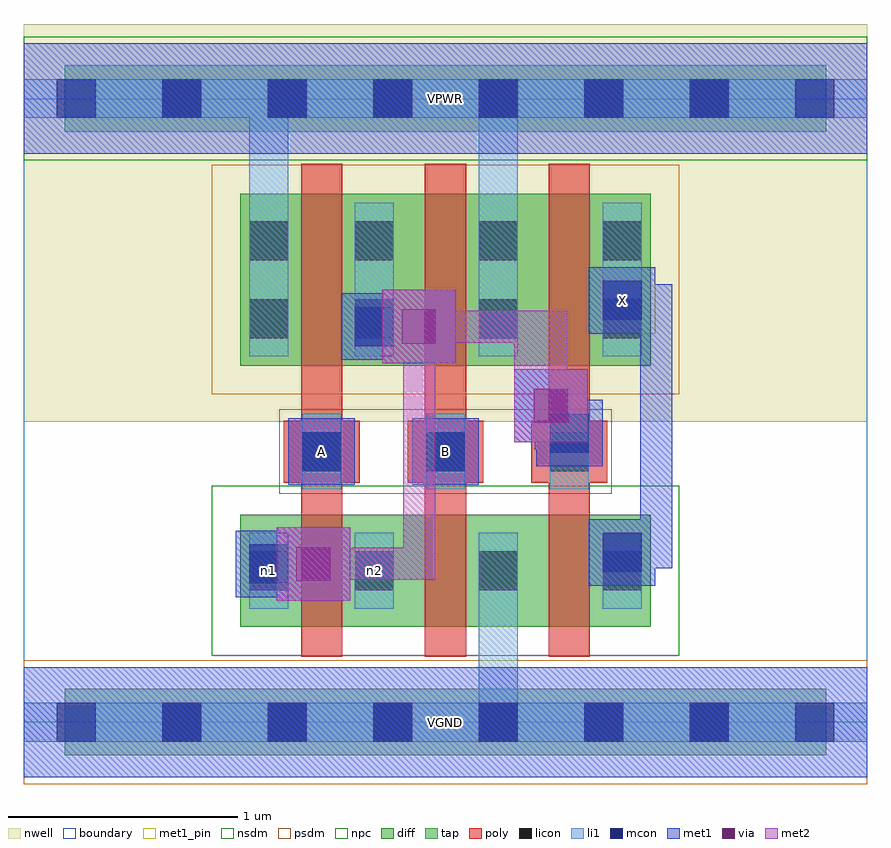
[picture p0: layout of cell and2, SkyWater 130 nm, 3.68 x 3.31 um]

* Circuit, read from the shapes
.subckt and2 A B VGND VPWR X n1 n2
XM1 n2 A n1 VGND sky130_fd_pr__nfet_01v8 w=0.49 l=0.18
XM2 VGND B n2 VGND sky130_fd_pr__nfet_01v8 w=0.49 l=0.18
XM3 X n1 VGND VGND sky130_fd_pr__nfet_01v8 w=0.49 l=0.18
XM4 n1 A VPWR VPWR sky130_fd_pr__pfet_01v8 w=0.75 l=0.18
XM5 VPWR B n1 VPWR sky130_fd_pr__pfet_01v8 w=0.75 l=0.18
XM6 X n1 VPWR VPWR sky130_fd_pr__pfet_01v8 w=0.75 l=0.18
.ends

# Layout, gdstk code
import gdstk
lib = gdstk.Library(unit=1e-6, precision=1e-09)
def R(c, l, rs):  # rectangles x0, y0, x1, y1
    for r in rs: c.add(gdstk.rectangle(r[:2], r[2:], *l))
def A(c, l, x, y, w, h, nx, ny, dx, dy):  # array of equal rectangles
    R(c, l, [(x+i*dx, y+j*dy, x+i*dx+w, y+j*dy+h) for i in range(nx) for j in range(ny)])
nwell = (64, 20)
diff = (65, 20)
tap = (65, 44)
poly = (66, 20)
licon = (66, 44)
li1 = (67, 20)
mcon = (67, 44)
met1_pin = (68, 16)
met1 = (68, 20)
via = (68, 44)
met2 = (69, 20)
nsdm = (93, 44)
psdm = (94, 20)
npc = (95, 20)
boundary = (235, 4)

and2 = lib.new_cell('and2')
R(and2, nwell, [(0,1.31,3.68,3.045)])
R(and2, diff, [(0.945,0.415,2.735,0.905), (0.945,1.555,2.735,2.305)])
R(and2, tap, [(0.18,-0.145,3.5,0.145), (0.18,2.575,3.5,2.865)])
A(and2, poly, 1.21, 0.285, 0.18, 2.15, 3, 1, 0.54, 0)
A(and2, poly, 1.135, 1.045, 0.33, 0.27, 3, 1, 0.54, 0)
A(and2, licon, 0.605, -0.085, 0.17, 0.17, 6, 2, 0.46, 2.72)
A(and2, licon, 1.445, 0.575, 0.17, 0.17, 3, 2, 0.54, 1.1)
A(and2, licon, 1.215, 1.095, 0.17, 0.17, 3, 1, 0.54, 0)
A(and2, licon, 1.445, 2.015, 0.17, 0.17, 3, 1, 0.54, 0)
R(and2, licon, [(0.985,0.575,1.155,0.745), (0.985,1.675,1.155,1.845), (0.985,2.015,1.155,2.185)])
A(and2, li1, 1.445, 0.495, 0.17, 0.33, 3, 1, 0.54, 0)
A(and2, li1, 1.215, 1.015, 0.17, 0.33, 3, 1, 0.54, 0)
A(and2, li1, 1.445, 1.595, 0.17, 0.67, 3, 1, 0.54, 0)
R(and2, li1, [(0,-0.085,3.68,0.085), (1.985,-0.085,2.155,0.825), (0.985,0.495,1.155,0.825), (0.985,1.595,1.155,2.265), (0.985,1.595,1.155,2.805), (1.985,1.595,2.155,2.805), (0,2.635,3.68,2.805)])
A(and2, mcon, 0.145, -0.085, 0.17, 0.17, 8, 2, 0.46, 2.72)
R(and2, mcon, [(0.985,0.605,1.155,0.775), (2.525,0.655,2.695,0.825), (1.215,1.095,1.385,1.265), (1.755,1.095,1.925,1.265), (2.295,1.175,2.465,1.345), (1.445,1.64,1.615,1.81), (2.525,1.755,2.695,1.925)])
R(and2, met1_pin, [(0,-0.24,3.68,0.24), (1.155,1.035,1.445,1.325), (1.695,1.035,1.985,1.325), (2.465,1.695,2.755,1.985), (0,2.48,3.68,2.96)])
R(and2, met1, [(0,-0.24,3.68,0.24), (1.105,0.53,1.425,0.85), (0.925,0.545,1.215,0.835), (2.465,0.595,2.755,0.885), (1,0.62,1.335,0.76), (2.54,0.67,2.83,0.81), (2.69,0.67,2.83,0.99), (2.69,0.85,2.83,1.91), (1.155,1.035,1.445,1.325), (1.695,1.035,1.985,1.325), (2.235,1.115,2.525,1.405), (2.23,1.19,2.45,1.33), (2.23,1.19,2.37,1.45), (2.14,1.22,2.46,1.54), (1.565,1.565,1.885,1.885), (1.385,1.58,1.675,1.87), (1.46,1.655,1.795,1.795), (2.465,1.695,2.755,1.985), (2.54,1.77,2.83,1.91), (0,2.48,3.68,2.96)])
R(and2, via, [(1.19,0.615,1.34,0.765), (2.225,1.305,2.375,1.455), (1.65,1.65,1.8,1.8)])
R(and2, met2, [(1.105,0.53,1.425,0.85), (1.195,0.62,1.795,0.76), (1.655,0.62,1.795,1.795), (2.14,1.22,2.46,1.54), (2.23,1.31,2.37,1.795), (2.14,1.54,2.37,1.655), (1.565,1.565,1.885,1.885), (1.655,1.655,2.37,1.795)])
R(and2, nsdm, [(0.82,0.29,2.86,1.03), (0,2.45,3.68,2.99)])
R(and2, psdm, [(0,-0.27,3.68,0.27), (0.82,1.43,2.86,2.43)])
R(and2, npc, [(1.115,0.995,2.565,1.365)])
R(and2, boundary, [(0,0,3.68,2.72)])
and2.add(gdstk.Label('n1', (1.07,0.66), layer=67, texttype=5))
and2.add(gdstk.Label('n2', (1.53,0.66), layer=67, texttype=5))
and2.add(gdstk.Label('A', (1.3,1.18), layer=68, texttype=5))
and2.add(gdstk.Label('B', (1.84,1.18), layer=68, texttype=5))
and2.add(gdstk.Label('X', (2.61,1.84), layer=68, texttype=5))
and2.add(gdstk.Label('VPWR', (1.84,2.72), layer=68, texttype=5))
and2.add(gdstk.Label('VGND', (1.84,0), layer=68, texttype=5))
and2.add(gdstk.Label('A', (1.3,1.18), layer=68, texttype=16))
and2.add(gdstk.Label('B', (1.84,1.18), layer=68, texttype=16))
and2.add(gdstk.Label('X', (2.61,1.84), layer=68, texttype=16))
and2.add(gdstk.Label('VPWR', (1.84,2.72), layer=68, texttype=16))
and2.add(gdstk.Label('VGND', (1.84,0), layer=68, texttype=16))

lib.write_gds('and2.gds')
